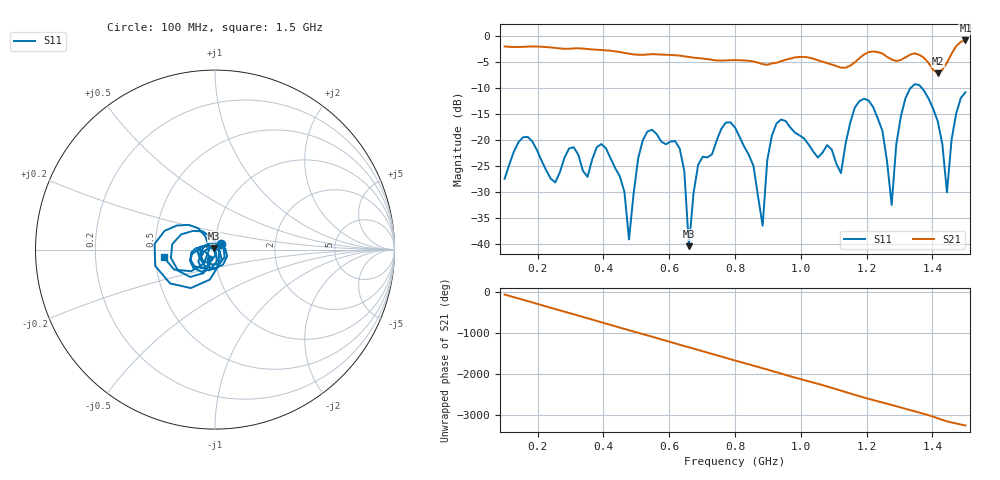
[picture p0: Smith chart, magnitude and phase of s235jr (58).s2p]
! NanoVNA-App
! Date: 2025-09-25 15:04:37
! Start: 100MHz Stop: 1,5GHz Points: 101
! S-Parameter data: F S11 S21 S12 S22
# Hz S RI R 50
!  Frequency  S11_Real  S11_Imag  S21_Real  S21_Imag  S12_Real  S12_Imag  S22_Real  S22_Imag
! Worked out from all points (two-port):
!   101 points, 100 MHz to 1.5 GHz, reference 50 ohm
!   highest |S21| = -0.82 dB at 1.5 GHz (marker M1); lowest = -7.1 dB at 1.416 GHz (marker M2)
!   |S21| within 3 dB of the highest: start of sweep to 640.6 MHz; 1.186 GHz to 1.258 GHz (71.96 MHz wide, 5.89 % of centre) (the widest 2 of 4)
!   lowest |S11| = -40.5 dB at 660 MHz (marker M3), VSWR 1.02, Z = 49.3 + j0.63 ohm
!   |S11| at or under -10 dB: start of sweep to 1.333 GHz; 1.368 GHz to end of sweep
!   S12 and S22 are empty: the file has one direction only
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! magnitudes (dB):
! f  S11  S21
! 100 MHz  -27.5  -2.0
! 156 MHz  -19.5  -2.0
! 338 MHz  -25.9  -2.4
! 408 MHz  -21.6  -2.7
! 478 MHz  -39.1  -3.4
! 520 MHz  -20.0  -3.6
! 576 MHz  -20.3  -3.5
! 632 MHz  -21.6  -3.7
! 660 MHz  -40.5  -4.0
! 688 MHz  -24.8  -4.2
! 800 MHz  -17.6  -4.6
! 884 MHz  -36.5  -5.4
! 926 MHz  -16.8  -5.1
! 1.038 GHz  -22.2  -4.3
! 1.122 GHz  -26.4  -6.1
! 1.206 GHz  -12.4  -3.1
! 1.248 GHz  -18.3  -3.3
! 1.276 GHz  -32.5  -4.5
! 1.332 GHz  -10.1  -3.6
! 1.416 GHz  -16.4  -7.1
! 1.444 GHz  -30.1  -5.1
! 1.5 GHz  -10.8  -0.8
